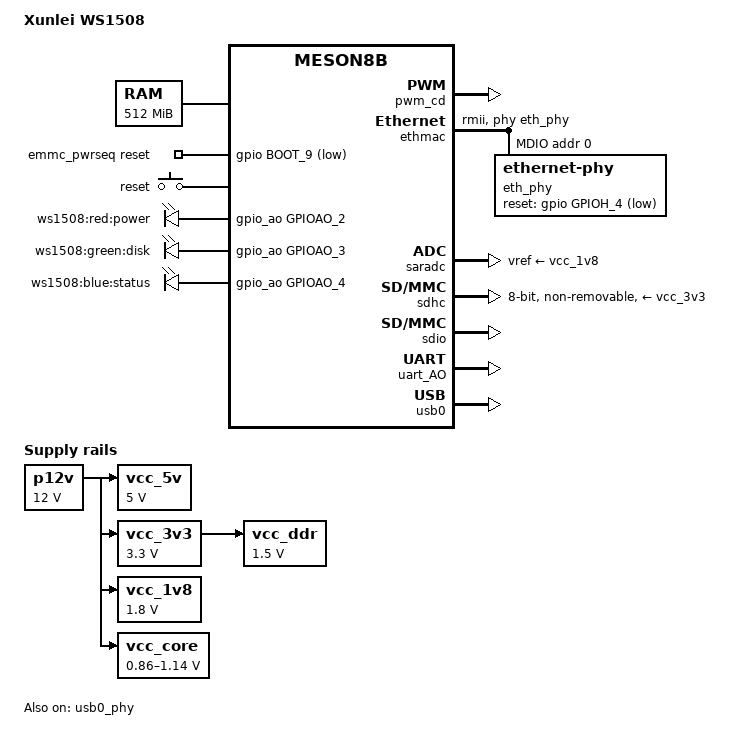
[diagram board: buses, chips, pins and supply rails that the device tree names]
// SPDX-License-Identifier: GPL-2.0-only
/*
 * Device tree for the Xunlei "Zhuanqianbao Pro" / 迅雷赚钱宝二代 (model WS1508).
 *
 * Amlogic S805 (meson8b), 4x Cortex-A5 @ 1.5GHz, 512MB DDR3,
 * 4GB internal storage (raw NAND on early units, eMMC on later units),
 * 100Mbit ethernet (RMII), a single USB 2.0 OTG port, 3 status LEDs
 * and one button.
 *
 * Derived from the community meson8b-ws1508.dts written by hzyitc and
 * modified by lunatickochiya, which in turn descends from the Thunder
 * OneCloud (WS1608) device tree.
 *
 * NOTE ON RAM: the WS1508 has 512MB, NOT the 1GB of the OneCloud/WS1608
 * this file descends from. The upstream community DTS kept the OneCloud's
 * 1GiB memory node unchanged, which is a copy error. Teardown photos of
 * two independent WS1508 v1.1 boards each show a single populated NANYA
 * DDR3 x16 chip next to an unpopulated twin footprint -- a 16-bit bus
 * carrying 512MB -- and the retail box silkscreen reads "RAM: DDR3-512MB".
 * The Amlogic vendor u-boot auto-detects both the bus width and the size
 * (CONFIG_DDR_MODE_AUTO_DETECT / CONFIG_DDR_SIZE_AUTO_DETECT) and rewrites
 * this node via fdt_fixup_memory_banks() before entering Linux, so the
 * value below is only a fallback -- but it is set correctly, and
 * deliberately to the smaller size, so that a board booted by a loader
 * that does NOT fix it up still comes up instead of touching absent RAM.
 */

/dts-v1/;
#include "meson8b.dtsi"
#include <dt-bindings/gpio/gpio.h>
#include <dt-bindings/input/input.h>

/ {
	model = "Xunlei WS1508";
	compatible = "xunlei,ws1508", "amlogic,meson8b";

	aliases {
		serial0 = &uart_AO;
		/* SD card slot is mmcblk0, internal eMMC is mmcblk1 */
		mmc0 = &sd_card_slot;
		mmc1 = &sdhc;
	};

	chosen {
		stdout-path = "serial0:115200n8";
	};

	/*
	 * DO NOT rename this to "memory@40000000", however much dtc's
	 * unit_address_vs_reg warning wants you to. The Amlogic vendor
	 * u-boot's fdt_fixup_memory_banks() resolves the node with
	 * fdt_path_offset(blob, "/memory") -- an exact path match. Give the
	 * node a unit address and that lookup misses, u-boot appends a
	 * second, empty "memory" node and returns early WITHOUT writing
	 * reg, and the detected DDR size is silently thrown away.
	 */
	memory {
		device_type = "memory";
		/*
		 * 512MB at 0x0.
		 *
		 * Every in-tree meson8b board file says 0x40000000 instead.
		 * That base is vestigial: it is never used, because the
		 * Amlogic bootloader always rewrites this node before Linux
		 * runs. The real base is 0x0 -- the vendor u-boot sets
		 * gd->bd->bi_dram[0].start from CONFIG_SYS_SDRAM_BASE, which
		 * arch/arm/include/asm/arch-m8b/cpu.h defines as 0x00000000,
		 * and that is the value fdt_fixup_memory_banks() writes here.
		 * meson8b.dtsi's hwrom@0 reserved region agrees, as do the
		 * kernel load addresses every S805 boot script uses.
		 */
		reg = <0x00000000 0x20000000>;
	};

	emmc_pwrseq: emmc-pwrseq {
		compatible = "mmc-pwrseq-emmc";
		reset-gpios = <&gpio BOOT_9 GPIO_ACTIVE_LOW>;
	};

	gpio-keys {
		compatible = "gpio-keys";
		autorepeat;

		reset-button {
			label = "reset";
			linux,code = <KEY_RESTART>;

			/*
			 * Driven as a level interrupt rather than a polled
			 * GPIO so that holding it is seen reliably.
			 */
			interrupt-parent = <&gpio_intc>;
			interrupts = <5 IRQ_TYPE_LEVEL_LOW>; /* GPIOAO_5 */
		};
	};

	leds {
		compatible = "gpio-leds";

		/*
		 * Triggers are chosen for a headless box that may root from
		 * eMMC, SD or USB:
		 *   red   - power / "board is up"
		 *   green - activity on whichever block device is in use
		 *   blue  - kernel heartbeat, so a hung kernel is visible
		 *           without a serial cable
		 */
		led-red {
			label = "ws1508:red:power";
			gpios = <&gpio_ao GPIOAO_2 GPIO_ACTIVE_HIGH>;
			default-state = "on";
			linux,default-trigger = "default-on";
		};

		led-green {
			label = "ws1508:green:disk";
			gpios = <&gpio_ao GPIOAO_3 GPIO_ACTIVE_HIGH>;
			default-state = "off";
			linux,default-trigger = "disk-activity";
		};

		led-blue {
			label = "ws1508:blue:status";
			gpios = <&gpio_ao GPIOAO_4 GPIO_ACTIVE_HIGH>;
			default-state = "off";
			linux,default-trigger = "heartbeat";
		};
	};

	p12v: regulator-p12v {
		compatible = "regulator-fixed";

		regulator-name = "P12V";
		regulator-min-microvolt = <12000000>;
		regulator-max-microvolt = <12000000>;
	};

	vcc_5v: regulator-vcc-5v {
		compatible = "regulator-fixed";

		regulator-name = "VCC5V";
		regulator-min-microvolt = <5000000>;
		regulator-max-microvolt = <5000000>;

		vin-supply = <&p12v>;

		regulator-boot-on;
		regulator-always-on;
	};

	vcc_3v3: regulator-vcc-3v3 {
		compatible = "regulator-fixed";

		regulator-name = "VCC3V3";
		regulator-min-microvolt = <3300000>;
		regulator-max-microvolt = <3300000>;

		vin-supply = <&p12v>;

		regulator-boot-on;
		regulator-always-on;
	};

	vcc_1v8: regulator-vcc-1v8 {
		compatible = "regulator-fixed";

		regulator-name = "VCC1V8";
		regulator-min-microvolt = <1800000>;
		regulator-max-microvolt = <1800000>;

		vin-supply = <&p12v>;

		regulator-boot-on;
		regulator-always-on;
	};

	vcc_ddr: regulator-vcc-ddr {
		compatible = "regulator-fixed";

		regulator-name = "VCC_DDR";
		regulator-min-microvolt = <1500000>;
		regulator-max-microvolt = <1500000>;

		vin-supply = <&vcc_3v3>;

		regulator-boot-on;
		regulator-always-on;
	};

	vcc_core: regulator-vcc-core {
		compatible = "pwm-regulator";

		regulator-name = "VCC_CORE";

		/*
		 *   +---------------------------------------------------+
		 *   |           The actual mapping in physical          |
		 *   +------+--------+--------+--------+--------+--------+
		 *   |      |  100%  |   60%  |   30%  |   10%  |   0%   |
		 *   +------+--------+--------+--------+--------+--------+
		 *   | V1.0 |  677mV |  857mV |  992mV | 1082mV | 1127mV |
		 *   | V1.3 | 1116mV | 1121mV | 1125mV | 1128mV | 1129mV |
		 *   +------+--------+--------+--------+--------+--------+
		 *
		 * This rail supplies the GPU as well as the CPU, so the
		 * voltages are kept above what meson8b.dtsi alone would
		 * ask for.
		 */
		pwms = <&pwm_cd 1 12001 0>;	/* PWM_D */
		pwm-dutycycle-range = <10 0>;
		regulator-min-microvolt = <860000>;
		regulator-max-microvolt = <1140000>;

		pwm-supply = <&p12v>;

		regulator-boot-on;
		regulator-always-on;
	};
};

&pwm_cd {
	status = "okay";
	pinctrl-0 = <&pwm_c1_pins>, <&pwm_d_pins>;
	pinctrl-names = "default";
	clocks = <&xtal>, <&xtal>;
	clock-names = "clkin0", "clkin1";
};

&cpu0 {
	cpu-supply = <&vcc_core>;
};

&mali {
	/*
	 * Left unattached from vcc_core on purpose: sharing the regulator
	 * makes the GPU pin the voltage and blocks CPU DVFS.
	 */
};

&gpio {
	gpio-line-names =
		/* 0-3 Bank GPIOX 0-3 */
		"7U1_PIN_18", "7U1_PIN_19",
		"7U1_PIN_14", "7U1_PIN_15",
		/* 4-7 Bank GPIOX 4-7 */
		"7U1_PIN_27", "7U1_PIN_25",
		"7U1_PIN_28", "7U1_PIN_26",
		/* 8 Bank GPIOX 8 */
		"R_RightOf_LED",
		/* 9 Bank GPIOX 9 */
		"7U1_PIN_16",
		/* 10 Bank GPIOX 10 */
		"",
		/* 11 Bank GPIOX 11 */
		"7U1_PIN_12",
		/* 12-16 Bank GPIOX 16-20 */
		"7U1_PIN_43", "7U1_PIN_42",
		"7U1_PIN_41(Resistor)", "7U1_PIN_44",
		"7U1_PIN_34",
		/* 17 Bank GPIOX 21 */
		"7U1_PIN_13",

		/* 18 Bank GPIOY 0 */
		"Resistor_TopOf_LED",
		/* 19-20 Bank GPIOY 1-3 */
		"", "",
		/* 21-26 Bank GPIOY 6-11 */
		"", "",
		"", "",
		"", "",
		/* 27 Bank GPIOY 12 */
		"",
		/* 28-29 Bank GPIOY 13-14 */
		"Left_BottomOf_CPU", "Right_BottomOf_CPU",

		/* 30 Bank GPIODV 9 */
		"VCCK_PWM (PWM_C)",
		/* 31-35 Bank GPIODV 24-28 */
		"I2CA_SDA", "I2CA_SCL",
		"I2CB_SDA", "I2CB_SCL",
		"VDDEE_PWM (PWM_D)",
		/* 36 Bank GPIODV 29 */
		"",

		/* 37-39 Bank GPIOH 0-2 */
		"HDMI_HPD", "HDMI_I2C_SDA", "HDMI_I2C_SCL",
		/* 40-46 Bank GPIOH 3-9 */
		"ETH_PHY_INTR", "ETH_PHY_NRST",
		"ETH_TXD1", "ETH_TXD0",
		"ETH_TXD3", "ETH_TXD2",
		"ETH_RGMII_TX_CLK",

		/* 47-53 Bank CARD 0-6 */
		"SD_D1", "SD_D0",
		"SD_CLK", "SD_CMD",
		"SD_D3", "SD_D2",
		"SD_CD",

		/* 54-65 Bank BOOT 0-11 */
		"EMMC_D0", "EMMC_D1",
		"EMMC_D2", "EMMC_D3",
		"EMMC_D4", "EMMC_D5",
		"EMMC_D6", "EMMC_D7",
		"EMMC_CLK", "EMMC_RSTn",
		"EMMC_CMD", "BOOT_SEL",
		/* 66-72 Bank BOOT 12-18 */
		"", "",
		"", "",
		"", "",
		"",

		/* 73-74 Bank DIF 0P 0N */
		"ETH_RXD1", "ETH_RXD0",
		/* 75-76 Bank DIF 1P 1N */
		"ETH_RX_DV", "RGMII_RX_CLK",
		/* 77-78 Bank DIF 2P 2N */
		"ETH_RXD3", "ETH_RXD2",
		/* 79-80 Bank DIF 3P 3N */
		"ETH_TXEN", "ETH_PHY_REF_CLK_25MOUT",
		/* 81-82 Bank DIF 4P 4N */
		"ETH_MDC", "ETH_MDIO";
};

&gpio_ao {
	gpio-line-names =
		/* 0-1 GPIOAO 0-1 */
		"UART TX", "UART RX",
		/* 2-4 GPIOAO 2-4 */
		"RED_LED", "GREEN_LED", "BLUE_LED",
		/* 5 GPIOAO 5 */
		"BUTTON",
		/* 6 GPIOAO 6 */
		"",
		/* 7 GPIOAO 7 */
		"IR_IN",
		/* 8-13 GPIOAO 8-13 */
		"", "",
		"", "",
		"", "",

		/* 14 GPIO_BSD_EN */
		"",
		/* 15 GPIO_TEST_N */
		"";
};

/*
 * 100Mbit ethernet over RMII. This is the main hardware difference from
 * the OneCloud/WS1608, which wires a gigabit PHY over RGMII.
 * The PHY is probed over MDIO, so no PHY-specific driver is named here.
 */
&ethmac {
	status = "okay";

	pinctrl-0 = <&eth_rmii_pins>;
	pinctrl-names = "default";

	phy-handle = <&eth_phy>;
	phy-mode = "rmii";

	mdio {
		compatible = "snps,dwmac-mdio";
		#address-cells = <1>;
		#size-cells = <0>;

		eth_phy: ethernet-phy@0 {
			reg = <0>;

			reset-assert-us = <10000>;
			reset-deassert-us = <80000>;
			reset-gpios = <&gpio GPIOH_4 GPIO_ACTIVE_LOW>;
		};
	};
};

&saradc {
	status = "okay";
	vref-supply = <&vcc_1v8>;
};

/*
 * Internal eMMC.
 *
 * The board has ONE combined footprint here that takes either package:
 * a TSOP-48 land pattern with a BGA ball-field inside it. Early units are
 * populated with a raw NAND in the TSOP-48 position, later ones with an
 * eMMC in the BGA position -- both exist within board revision v1.1.
 *
 * Mainline Linux cannot drive the raw NAND (there is no meson8b raw-NAND
 * controller driver in tree; meson_nand.c binds only to gxl and axg). On
 * a NAND unit this controller simply finds no card and the box roots from
 * USB or SD instead, which is harmless.
 */
&sdhc {
	status = "okay";

	pinctrl-0 = <&sdxc_c_pins>;
	pinctrl-names = "default";

	bus-width = <8>;
	max-frequency = <200000000>;

	cap-mmc-highspeed;
	mmc-hs200-1_8v;
	non-removable;

	mmc-pwrseq = <&emmc_pwrseq>;

	vmmc-supply = <&vcc_3v3>;
};

&sdio {
	status = "okay";

	pinctrl-0 = <&sd_b_pins>;
	pinctrl-names = "default";

	/* SD card */
	sd_card_slot: slot@1 {
		compatible = "mmc-slot";
		reg = <1>;
		status = "okay";

		bus-width = <4>;
		no-sdio;
		cap-mmc-highspeed;
		cap-sd-highspeed;
		disable-wp;

		cd-gpios = <&gpio CARD_6 GPIO_ACTIVE_LOW>;

		vmmc-supply = <&vcc_3v3>;
	};
};

&uart_AO {
	status = "okay";
	pinctrl-0 = <&uart_ao_a_pins>;
	pinctrl-names = "default";
};

/*
 * The single USB 2.0 port. It doubles as the Amlogic USB burning port,
 * so it is left in OTG mode: with nothing driving the ID pin the
 * controller settles into host mode and USB mass storage works, while
 * the ROM/u-boot can still use it in device mode for flashing.
 */
&usb0_phy {
	status = "okay";
	dr_mode = "otg";
};

&usb0 {
	status = "okay";
};
